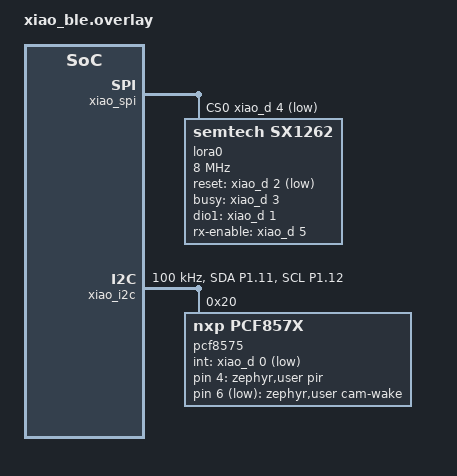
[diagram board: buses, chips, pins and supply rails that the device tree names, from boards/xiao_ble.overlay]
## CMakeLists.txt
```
# SPDX-License-Identifier: Apache-2.0

cmake_minimum_required(VERSION 3.20.0)

# Console (printf/logs) is already over USB CDC ACM: the xiao_ble board enables
# CONFIG_BOARD_SERIAL_BACKEND_CDC_ACM by default. Don't add the cdc-acm-console
# snippet on top: it creates a second, unexposed CDC ACM port and steals
# zephyr,console from the one the host actually sees.

find_package(Zephyr REQUIRED HINTS $ENV{ZEPHYR_BASE})
project(master_node)

target_sources(app PRIVATE
    src/main.c
    src/camera_node.c
    src/camera_link.c
    src/image_store.c
    src/cam_wake.c
    src/noon_clock.c
)
```

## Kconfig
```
# SPDX-License-Identifier: Apache-2.0
#
# Application options. Change them with `west build -t menuconfig`, or put
# CONFIG_APP_xxx=value lines into prj.conf / boards/<board>.conf.

mainmenu "master-node"

menu "master-node application"

config APP_CAMERA_NAME
	string "Advertised name of the camera node"
	default "DFR1154-CAM"
	help
	  The scanner connects to the first connectable advertiser whose name starts with
	  this text. Must match "BLE device name" (NODE_BLE_DEVICE_NAME) in the camera
	  firmware's menuconfig.

config APP_IMAGE_BUF_SIZE
	int "RAM reserved for one received picture (bytes)"
	default 131072
	range 4096 400000
	help
	  The camera's JPEG buffer is width*height/5 bytes (SVGA 800x600 = 96000).
	  A picture bigger than this is refused. The buffer lives in .bss, so it is
	  taken from RAM permanently (nRF5340 app core: 512 KB, nRF52840: 256 KB).

config APP_SESSION_TIMEOUT_S
	int "After a trigger: seconds to wait for the camera to show up"
	default 20
	range 3 120
	help
	  The camera needs 1-3 s to wake and take the picture, then it advertises for
	  up to NODE_BLE_CONNECT_TIMEOUT_MS (10 s by default). Keep this above both.

config APP_TRANSFER_TIMEOUT_S
	int "Seconds allowed for connect + pairing + transfer once the camera was found"
	default 30
	range 5 300

config APP_IMAGE_WAKE_PULSE_MS
	int "Wake pulse for a PICTURE request (ms)"
	default 50
	range 5 2000
	help
	  The camera wakes on the LEVEL of its wake pin. A pulse SHORTER than the camera's
	  NODE_BATTERY_REQUEST_MS (200 ms) asks for a picture.

config APP_BATTERY_WAKE_PULSE_MS
	int "Wake pulse for a BATTERY request (ms)"
	default 300
	range 5 5000
	help
	  A pulse LONGER than the camera's NODE_BATTERY_REQUEST_MS (200 ms) asks for the
	  battery level instead of a picture.

config APP_PROGRESS_LOG_BYTES
	int "Log the received byte count every this many bytes"
	default 8192
	range 512 100000

config APP_RTC_BOOT_HOUR
    int "Local hour at boot (-1: unknown, do not arm noon alarm)"
    range -1 23
    default -1
    help
      The nRF52840 has a low-frequency RTC counter, NOT a battery-backed
      calendar clock. Set the hour/minute/second only if the current local
      time at firmware START is known. For an accurate noon alarm, call
      noon_clock_set_local_time() from a trusted time source after boot.

config APP_RTC_BOOT_MINUTE
    int "Local minute at boot (testing/initial synchronization)"
    range 0 59
    default 0

config APP_RTC_BOOT_SECOND
    int "Local second at boot (testing/initial synchronization)"
    range 0 59
    default 0

config APP_AUTO_REPAIR
	bool "Forget the stored bond and pair again when the camera lost its key"
	default y
	help
	  If the camera was factory-reset it no longer knows this device and refuses to
	  encrypt. With this option the stored bond is deleted and one new pairing
	  attempt is made. NOTE: with "Just Works" pairing this accepts whichever device
	  answers, so switch it off in a product that must not re-pair silently.

endmenu

source "Kconfig.zephyr"
```

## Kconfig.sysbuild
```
# SPDX-License-Identifier: Apache-2.0
#
# nRF5340 has two cores: this application runs on the application core, the
# Bluetooth controller must run on the network core. Sysbuild builds both images
# (the network core one is Zephyr's hci_ipc sample) and flashes them together.
# Single-core boards (xiao_ble) are not affected: NET_CORE_BOARD stays empty.

source "share/sysbuild/Kconfig"

config NET_CORE_BOARD
	string
	default "nrf5340dk/nrf5340/cpunet" if $(BOARD) = "nrf5340dk"

config NET_CORE_IMAGE_HCI_IPC
	bool "HCI IPC image on the network core"
	default y
	depends on NET_CORE_BOARD != ""
```

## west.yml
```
# West workspace manifest: pins the Zephyr version for everyone (devcontainer + CI).
# Only the modules this board needs are fetched, to keep the download small.
manifest:
  self:
    path: master-node

  remotes:
    - name: zephyrproject-rtos
      url-base: https://github.com/zephyrproject-rtos

  projects:
    - name: zephyr
      remote: zephyrproject-rtos
      revision: v4.5.0
      import:
        name-allowlist:
          - cmsis_6
          - hal_nordic
          - loramac-node
          - mbedtls        # crypto backend used by the Bluetooth host in recent Zephyr
          - open-amp       # nRF5340: IPC between the application and network core
          - libmetal       # needed by open-amp
          - tf-psa-crypto          # mbedtls 4.x keeps its crypto core in this module
          - tf-psa-crypto-drivers
```

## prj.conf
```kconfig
# ---- Logging ---------------------------------------------------------------
# One switch for all logs: CONFIG_LOG=n removes every LOG_xxx() call from the build
# (and the logging subsystem itself). Keep it on while developing.
CONFIG_LOG=y
CONFIG_LOG_DEFAULT_LEVEL=3

# ---- Bluetooth: central, one connection, bonding stored in flash -----------
CONFIG_BT=y
CONFIG_BT_CENTRAL=y
CONFIG_BT_MAX_CONN=1
CONFIG_BT_GATT_CLIENT=y
CONFIG_BT_GATT_AUTO_DISCOVER_CCC=y

# Pairing (LE Secure Connections, "Just Works") + bonds that survive power loss
CONFIG_BT_SMP=y
CONFIG_BT_BONDABLE=y
CONFIG_BT_MAX_PAIRED=2
CONFIG_BT_SETTINGS=y
CONFIG_SETTINGS=y
CONFIG_FLASH=y
CONFIG_FLASH_PAGE_LAYOUT=y
CONFIG_FLASH_MAP=y
CONFIG_NVS=y

# Big ATT MTU + long data packets: the camera sends (MTU - 6)-byte chunks, so a
# bigger MTU means far fewer packets for a 60 KB picture
CONFIG_BT_L2CAP_TX_MTU=247
CONFIG_BT_BUF_ACL_RX_SIZE=251
CONFIG_BT_BUF_ACL_TX_SIZE=251
CONFIG_BT_BUF_ACL_TX_COUNT=7

# CRC32 of the received picture
CONFIG_CRC=y

CONFIG_MAIN_STACK_SIZE=4096
CONFIG_SYSTEM_WORKQUEUE_STACK_SIZE=2048

# LoRa radio (Wio-SX1262, see boards/xiao_ble.overlay)
CONFIG_LORA=y

# Debug logging over the USB console (board CDC ACM)
#CONFIG_LOG=y
#CONFIG_LOG_DEFAULT_LEVEL=3
# Hide the USB driver's INF chatter (Reset / SUSPEND / RESUMING); keep warnings
CONFIG_UDC_DRIVER_LOG_LEVEL_WRN=y

#wincej
CONFIG_LOG_BACKEND_UART=y
CONFIG_CONSOLE=y
CONFIG_UART_CONSOLE=y

CONFIG_GPIO=y
CONFIG_I2C=y
CONFIG_GPIO_PCF857X=y
```

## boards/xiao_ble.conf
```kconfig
# XIAO nRF52840 + Wio-SX1262 only (the nRF5340 DK has no such parts)

# LoRa radio (Wio-SX1262, see boards/xiao_ble.overlay)
CONFIG_LORA=y

# Hide the USB driver's INF chatter (Reset / SUSPEND / RESUMING); keep warnings
CONFIG_UDC_DRIVER_LOG_LEVEL_WRN=y

# Picture wake pulse from PCF8575 P06: short LOW for 30 ms.
# Battery request keeps APP_BATTERY_WAKE_PULSE_MS=300 (unchanged).
CONFIG_APP_IMAGE_WAKE_PULSE_MS=30
```

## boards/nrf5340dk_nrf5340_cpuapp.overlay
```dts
/*
 * nRF5340 DK alternate board configuration.
 * Button 1 (P0.23) can simulate the PIR input for development.
 * The test-only battery button/trigger has been removed.
 * Camera wake output remains on P1.04 (active LOW).
 */

/ {
    zephyr,user {
        pir-gpios = <&gpio0 23 (GPIO_PULL_UP | GPIO_ACTIVE_LOW)>;
        cam-wake-gpios = <&gpio1 4 GPIO_ACTIVE_LOW>;
    };
};
```

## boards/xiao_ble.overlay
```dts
/*
 * Wio-SX1262 LoRa module on the XIAO nRF52840.
 *
 * Module stacked on the XIAO pin headers, as shipped in Seeed's
 * "XIAO nRF52840 + Wio-SX1262" kit (same pinout as Meshtastic variant
 * seeed_xiao_nrf52840_kit). The Wio-SX1262 from the XIAO ESP32-S3 kit is wired
 * differently, so don't swap modules between kits without changing these pins.
 */

#include <zephyr/dt-bindings/lora/sx126x.h>

#include <zephyr/dt-bindings/gpio/gpio.h>
#include <zephyr/dt-bindings/pinctrl/nrf-pinctrl.h>
#include <zephyr/dt-bindings/i2c/i2c.h>

/ {
	aliases {
		lora0 = &lora0;
	};
};

&xiao_spi {
	status = "okay";
	cs-gpios = <&xiao_d 4 GPIO_ACTIVE_LOW>;		/* D4: NSS */

	lora0: lora@0 {
		compatible = "semtech,sx1262";
		reg = <0>;
		spi-max-frequency = <DT_FREQ_M(8)>;
		reset-gpios = <&xiao_d 2 GPIO_ACTIVE_LOW>;	/* D2 */
		busy-gpios = <&xiao_d 3 GPIO_ACTIVE_HIGH>;	/* D3 */
		dio1-gpios = <&xiao_d 1 GPIO_ACTIVE_HIGH>;	/* D1 */
		rx-enable-gpios = <&xiao_d 5 GPIO_ACTIVE_HIGH>;	/* D5: RF switch RX side */
		dio2-tx-enable;					/* DIO2 drives RF switch TX side */
		dio3-tcxo-voltage = <SX126X_DIO3_TCXO_1V8>;
		tcxo-power-startup-delay-ms = <5>;
	};
};

/*
 * D6=P1.11 (SDA), D7=P1.12 (SCL) - dedicated to PCF8575 I2C.
 * D0=P0.02 - PCF8575 /INT (active LOW, open drain, external 4.7k pull-up).
 * PIR output -> PCF8575 P04, HIGH means motion.
 * PCF8575 P06 - camera-node wake (active LOW, 30 ms picture / 80 ms noon).
 *
 * IMPORTANT: PCF8575 /INT is not a copied PIR HIGH level; it asserts LOW
 * when an input changes. Zephyr's PCF857x driver configures D0 as an IRQ,
 * reads PCF inputs over I2C and dispatches callbacks on changed pins.
 */

&pinctrl {
    i2c1_custom_default: i2c1_custom_default {
        group1 {
            psels = <NRF_PSEL(TWIM_SDA, 1, 11)>,
                    <NRF_PSEL(TWIM_SCL, 1, 12)>;
            bias-pull-up;
        };
    };

    i2c1_custom_sleep: i2c1_custom_sleep {
        group1 {
            psels = <NRF_PSEL(TWIM_SDA, 1, 11)>,
                    <NRF_PSEL(TWIM_SCL, 1, 12)>;
            low-power-enable;
            bias-pull-up;
        };
    };
};

/* D6 and D7 are TWIM pins now, not UART0. USB CDC ACM stays enabled. */
&uart0 {
    status = "disabled";
};

/* Konfiguracja magistrali I2C */
&xiao_i2c {
    status = "okay";
    clock-frequency = <100000>;

    pinctrl-0 = <&i2c1_custom_default>;
    pinctrl-1 = <&i2c1_custom_sleep>;
    pinctrl-names = "default", "sleep";

    pcf8575: pcf8575@20 {
        compatible = "nxp,pcf857x";
        reg = <0x20>;
        gpio-controller;
        #gpio-cells = <2>;
        ngpios = <16>;
        /* PCF8575 INT -> XIAO D0. IRQ serviced by the expander driver. */
        int-gpios = <&xiao_d 0 (GPIO_PULL_UP | GPIO_ACTIVE_LOW)>;
        status = "okay";
    };
};

/ {
	zephyr,user {
		pir-gpios = <&pcf8575 4 GPIO_ACTIVE_HIGH>;
		cam-wake-gpios = <&pcf8575 6 GPIO_ACTIVE_LOW>;
	};
};
```

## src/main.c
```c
/*
 * SPDX-License-Identifier: Apache-2.0
 *
 * PIR is connected to PCF8575 P04, and the expander /INT line wakes the nRF.
 * Camera image reception remains in camera_node.c. The 12:00 event uses
 * a Zephyr timer after the local clock has been synchronized.
 */

#include <errno.h>
#include <zephyr/drivers/gpio.h>
#include <zephyr/kernel.h>
#include <zephyr/logging/log.h>

#include "camera_node.h"
#include "cam_wake.h"
#include "noon_clock.h"

LOG_MODULE_REGISTER(master_node, LOG_LEVEL_DBG);

/* Existing on-board LED (active-low physically on the XIAO). */
static const struct gpio_dt_spec status_led = GPIO_DT_SPEC_GET(DT_ALIAS(led0), gpios);

/* A short LED indication without delaying the camera request. */
static void status_led_off(struct k_work *work)
{
    ARG_UNUSED(work);
    (void)gpio_pin_set_dt(&status_led, 0);
}

K_WORK_DELAYABLE_DEFINE(status_led_off_work, status_led_off);

BUILD_ASSERT(DT_NODE_HAS_PROP(DT_PATH(zephyr_user), pir_gpios),
             "the board overlay must define zephyr,user pir-gpios");

/* Real PIR input on PCF8575 P04; /INT is wired to XIAO D0. */
static const struct gpio_dt_spec pir = GPIO_DT_SPEC_GET(DT_PATH(zephyr_user), pir_gpios);
static struct gpio_callback pir_cb_data;
static K_SEM_DEFINE(event_sem, 0, 1);

#define REQ_IMAGE 0
#define REQ_NOON  1
static atomic_t requests;

#define PIR_DEBOUNCE_MS 300

/* PIR input change callback: debounced; wakes the main thread. */
static void trigger_isr(const struct device *port, struct gpio_callback *cb, uint32_t pins)
{
	static int64_t last_ms;
	int64_t now = k_uptime_get();

	if (now - last_ms < PIR_DEBOUNCE_MS) {
		return;
	}
	last_ms = now;
	atomic_set_bit(&requests, REQ_IMAGE);
	k_sem_give(&event_sem);
}

static int input_init(const struct gpio_dt_spec *spec, struct gpio_callback *cb,
		      gpio_callback_handler_t isr)
{
	if (!gpio_is_ready_dt(spec)) {
        LOG_ERR("input GPIO controller not ready");
        return -ENODEV;
    }

    // PCF8575: nie konfigurujemy GPIO_INPUT
    // ze wzgledu na blad sterownika w Zephyr 4.4.2.

    gpio_init_callback(cb, isr, BIT(spec->pin));

    int err = gpio_add_callback(spec->port, cb);
    if (err) {
        return err;
    }

    return gpio_pin_interrupt_configure_dt(
        spec, GPIO_INT_EDGE_TO_ACTIVE
    );
}

int main(void)
{
    LOG_INF("master-node up on %s", CONFIG_BOARD_TARGET);
	int counter_test = 0;

    /* PCF8575 is initialized by Zephyr. Its /INT line is on XIAO D0. */
    if (!gpio_is_ready_dt(&status_led) ||
        gpio_pin_configure_dt(&status_led, GPIO_OUTPUT_INACTIVE) != 0) {
        LOG_ERR("status LED not ready");
        return -ENODEV;
    }

    /* No changes to BLE initialization or camera_node_* functions. */
    if (camera_node_init() || input_init(&pir, &pir_cb_data, trigger_isr)) {
        LOG_ERR("setup failed - check the board overlay / PCF INT on D0");
        return -ENODEV;
    }

    /* Clear any pending PCF8575 change and establish an initial PIR state. */
    int initial_pir = gpio_pin_get_dt(&pir);
    if (initial_pir < 0) {
        LOG_ERR("PIR initial read over I2C failed: %d", initial_pir);
        return initial_pir;
    }

    if (noon_clock_init(&event_sem, &requests, REQ_NOON) != 0) {
        LOG_ERR("RTC timer initialization failed");
        return -EINVAL;
    }

#if CONFIG_APP_RTC_BOOT_HOUR >= 0
    /* Demonstration only: requires an actually known local time at power-on. */
    (void)noon_clock_set_local_time(CONFIG_APP_RTC_BOOT_HOUR,
                                    CONFIG_APP_RTC_BOOT_MINUTE,
                                    CONFIG_APP_RTC_BOOT_SECOND);
#else
    LOG_WRN("No wall clock: noon alarm unarmed; sync with noon_clock_set_local_time()");
#endif

    while(true) { //nie zgadzam się na żadne for(;;)
        LOG_INF("sleeping until PIR / RTC event");
        k_sem_take(&event_sem, K_FOREVER);

        /* Timeout callback does not access I2C. Handle the alarm here. */
        if (atomic_test_and_clear_bit(&requests, REQ_NOON)) {
            LOG_INF("RTC noon alarm: camera wake pulse 80 ms");
            cam_wake_pulse(80);
        }

        if (atomic_test_and_clear_bit(&requests, REQ_IMAGE)) {
            /* Zephyr 4.4 PCF857x callbacks signal BOTH edges regardless
             * of requested trigger. Only PIR HIGH may request an image. */
            int pir_state = gpio_pin_get_dt(&pir);
            if (pir_state < 0) {
                LOG_ERR("PIR read failed: %d", pir_state);
            } else if (pir_state == 1) {
                /* Preserve the LED indication on a valid interrupt. */
                (void)gpio_pin_set_dt(&status_led, 1);
                (void)k_work_reschedule(&status_led_off_work, K_SECONDS(2));

                /* take_image(): unchanged BLE, 30 ms low on PCF8575 P06
                 * (CONFIG_APP_IMAGE_WAKE_PULSE_MS=30 on XIAO only). */
                /*if (take_image()) {
                    const struct stored_image *img = get_image();
                    if (img != NULL) {
                        // >>> picture is in RAM: img->data, img->len, img->status. <<< 
                        LOG_INF("image ready: %u bytes, %s", img->len,
                                image_status_str(img->status));
                    }
                }*/
				if (counter_test == 0) {
					if(take_image()){
						const struct stored_image *img = get_image();
						if (img != NULL) {
							// >>> picture is in RAM: img->data, img->len, img->status. <<< 
							LOG_DBG("image ready: %u bytes, %s", img->len,
									image_status_str(img->status));
						}
					}
					counter_test = 1;
				} else {
					struct battery_info bat;

					if (read_battery(&bat)) {
						LOG_DBG("camera node battery: %u %% (%u mV)", bat.percent, bat.battery_mv);
					}
					counter_test = 0;
				}
            } else {
                LOG_DBG("PCF interrupt ignored: PIR is LOW");
            }
		   LOG_DBG("PIR detected.");
        }

    }
    return 0;
}
```

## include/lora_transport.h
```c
/* SPDX-License-Identifier: Apache-2.0 */
#ifndef BS_LORA_TRANSPORT_H
#define BS_LORA_TRANSPORT_H

#include "tx_session.h"

/** Initialize the lora0 SX1262 using Kconfig modulation and the existing board overlay.
 * @return Zero on success; negative errno for absent hardware, unsupported settings or readback failure.
 * Call once from thread context before sending. This component owns the radio exclusively.
 */
int bs_lora_init(void);

/** Deliver an arbitrary binary body using bounded DATA/END/ACK/NACK exchange.
 * @param kind ENTRY, IMAGE or TELEMETRY.
 * @param device_id Provisioned sender identity, unique among nodes.
 * @param message_id Unique application ID, retained across all internal retransmissions.
 * @param data Immutable body kept alive until this blocking call returns.
 * @param size Nonzero body length, up to BS_MESSAGE_MAX.
 * @param result Output delivery statistics; delivery succeeds only after a matching ACK.
 * @return Zero after durable router receipt; negative errno on timeout/error, -EBUSY if another
 *         application thread is already using this radio. Call from thread context, never an ISR.
 */
int bs_lora_send_message(uint8_t kind, uint16_t device_id, uint32_t message_id,
			 const uint8_t *data, size_t size, struct bs_tx_result *result);
#endif
```

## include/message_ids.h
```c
/* SPDX-License-Identifier: Apache-2.0 */
#ifndef BS_MESSAGE_IDS_H
#define BS_MESSAGE_IDS_H
#include <stdint.h>

/** Mount the board's existing storage partition for persistent ID reservations.
 * @return Zero on success, negative errno on corrupt/unavailable storage. Never silently resets IDs.
 */
int bs_message_ids_init(void);

/** Reserve a never-before-issued message ID, committing blocks before exposing IDs.
 * @param message_id Output ID. Serialize callers; the demo calls this only from main.
 * @return Zero on success, negative errno on flash failure or sequence exhaustion.
 * A reset skips unused reserved IDs. Erasing/replacing flash requires reprovisioning the device ID.
 */
int bs_message_id_next(uint32_t *message_id);
#endif
```

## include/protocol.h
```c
/* SPDX-License-Identifier: Apache-2.0 */
#ifndef BS_PROTOCOL_H
#define BS_PROTOCOL_H

#include <stddef.h>
#include <stdint.h>

#define BS_PROTOCOL_VERSION 1U
#define BS_HEADER_SIZE 22U
#define BS_RADIO_MAX 255U
#define BS_PART_MAX (BS_RADIO_MAX - BS_HEADER_SIZE)
#define BS_PART_DEFAULT 200U
#define BS_NACK_MAX 32U
#define BS_CONTROL_MAX (BS_HEADER_SIZE + 1U + 2U * BS_NACK_MAX)
/* Match the actual Python MessageStore limits, not just the wire field widths. */
#define BS_MESSAGE_MAX 1000000U
#define BS_FRAGMENT_MAX 10000U

/**
 * @brief Packet kinds carried in the version 1 wire header.
 *
 * ENTRY, IMAGE and TELEMETRY carry DATA fragments. ACK, NACK and END
 * reference a whole message and carry its original DATA kind in their body.
 * These numeric values are part of the wire contract and must remain stable.
 */
enum bs_kind {
	BS_ENTRY = 1,     /**< DATA containing part of a UTF-8 entry-event JSON object. */
	BS_IMAGE = 2,     /**< DATA containing part of a raw JPEG image. */
	BS_TELEMETRY = 3, /**< DATA containing part of a UTF-8 telemetry JSON object. */
	BS_ACK = 4,       /**< Router confirms durable receipt of the complete message. */
	BS_NACK = 5,      /**< Router requests up to BS_NACK_MAX missing DATA indices. */
	BS_END = 6,       /**< Sender ends a DATA round and requests whole-message feedback. */
};

/**
 * @brief Stable message identity, checksum and fragmentation plan for a send session.
 *
 * Initialize with bs_message_init() and retain unchanged across retransmissions.
 * This native C layout can contain padding; serialize through the protocol encoders,
 * never by copying the struct directly into a radio packet.
 */
struct bs_message {
	uint32_t message_id; /**< Application message ID; all retries reuse this value. */
	uint32_t total_size; /**< Complete nonempty application body length in bytes. */
	uint32_t crc32;      /**< CRC32/ISO-HDLC of the complete body, matching zlib.crc32(). */
	uint16_t device_id;  /**< Provisioned identity of the sending node. */
	uint16_t count;      /**< Total distinct DATA fragments expected by the receiver. */
	uint16_t part_size;  /**< Local DATA payload limit, 1..BS_PART_MAX; not a wire field. */
	uint8_t kind;        /**< Original DATA category: BS_ENTRY, BS_IMAGE or BS_TELEMETRY. */
};

/**
 * @brief Validated whole-message ACK or bounded missing-fragment NACK.
 *
 * Output is valid only after bs_decode_feedback() returns zero. The decoder has
 * already checked that all message metadata matches the pending bs_message.
 */
struct bs_feedback {
	uint16_t missing[BS_NACK_MAX]; /**< Ascending, unique, zero-based missing DATA indices. */
	uint8_t missing_count;        /**< Valid array entries: zero for ACK, 1..BS_NACK_MAX for NACK. */
	uint8_t kind;                 /**< Feedback operation: BS_ACK or BS_NACK. */
};

/** CRC32/ISO-HDLC (reflected polynomial 0xedb88320), identical to zlib.crc32().
 * @param data Input bytes; may be NULL only when size is zero.
 * @param size Number of input bytes.
 * @return Complete body checksum; empty input yields zero.
 */
uint32_t bs_crc32(const uint8_t *data, size_t size);

/** Validate a nonempty application body and compute stable fragmentation metadata.
 * @param message Output metadata, valid only on success.
 * @param kind ENTRY, IMAGE or TELEMETRY.
 * @param device_id Provisioned sender identity.
 * @param message_id Unique ID reserved before sending, reused for all retries.
 * @param data Body that must remain unchanged for the complete session.
 * @param size Body length, at most BS_MESSAGE_MAX bytes.
 * @param part_size DATA payload length, 1..BS_PART_MAX (normally 200).
 * @return Zero on success, -EINVAL for invalid arguments, -EMSGSIZE for receiver limits.
 */
int bs_message_init(struct bs_message *message, uint8_t kind, uint16_t device_id,
		    uint32_t message_id, const uint8_t *data, size_t size, uint16_t part_size);

/** Encode one DATA frame, using explicit big-endian byte operations.
 * @param message Metadata initialized by bs_message_init().
 * @param data Unchanged full application body.
 * @param size Body length matching the metadata.
 * @param index Zero-based DATA fragment index.
 * @param frame Output packet buffer.
 * @param capacity Available output buffer bytes.
 * @return Encoded frame length or a negative errno value.
 */
int bs_encode_data(const struct bs_message *message, const uint8_t *data, size_t size,
		   uint16_t index, uint8_t *frame, size_t capacity);

/** Encode an END referencing the full message.
 * @param message Validated pending-message metadata.
 * @param frame Output packet buffer.
 * @param capacity Available output bytes (at least 23).
 * @return Encoded length or a negative errno value.
 */
int bs_encode_end(const struct bs_message *message, uint8_t *frame, size_t capacity);

/** Decode ACK/NACK and require every identity/size/checksum field to match.
 * @param message Pending-message metadata.
 * @param frame Received binary radio payload.
 * @param size Received byte count.
 * @param feedback Output ACK or sorted, bounded NACK indices, valid only on success.
 * @return Zero on success; -ENOMSG for another message, -EBADMSG for malformed frames,
 *         or -EINVAL for invalid caller arguments.
 */
int bs_decode_feedback(const struct bs_message *message, const uint8_t *frame, size_t size,
		       struct bs_feedback *feedback);
#endif
```

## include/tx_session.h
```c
/* SPDX-License-Identifier: Apache-2.0 */
#ifndef BS_TX_SESSION_H
#define BS_TX_SESSION_H

#include "protocol.h"
#include <stdint.h>

/**
 * @brief Sender progress notifications delivered through bs_tx_io.event().
 *
 * Each event defines the meaning of the callback's integer detail argument.
 * These are local diagnostics, not packet kinds or values serialized over LoRa.
 */
enum bs_tx_event {
	BS_TX_END,     /**< Starting an END/feedback round; detail is its one-based number. */
	BS_TX_ACK,     /**< Matching ACK received; detail is the one-based round number. */
	BS_TX_NACK,    /**< Matching NACK received; detail is the number of missing indices. */
	BS_TX_MISSING, /**< Retransmitting DATA; detail is its zero-based fragment index. */
	BS_TX_TIMEOUT, /**< No matching feedback before the deadline; detail is the round number. */
	BS_TX_IO_ERROR, /**< Packet send failed; detail is the transport's negative errno. */
	BS_TX_IGNORED, /**< Malformed/unrelated feedback ignored; detail is received byte count. */
};

/**
 * @brief Blocking, single-owner transport callbacks used by the portable sender.
 *
 * The application or host test supplies these operations. Every callback receives
 * context; send(), recv() and now_ms() are required, while event() is optional.
 * Buffers are borrowed for the duration of each call and must not be retained.
 */
struct bs_tx_io {
	void *context; /**< Caller-owned callback state; NULL is allowed for stateless adapters. */

	/**
	 * @brief Schedule and attempt one binary packet transmission.
	 * @param context Caller state from this callback table.
	 * @param frame Immutable packet bytes, including the protocol header.
	 * @param size Packet length in bytes, at most BS_RADIO_MAX.
	 * @return Zero on TX completion, negative errno on failure; not a delivery ACK.
	 * Include duty-cycle waiting and charge failed TX attempts before allowing another TX.
	 */
	int (*send)(void *context, const uint8_t *frame, size_t size);

	/**
	 * @brief Wait for one received packet within the remaining feedback window.
	 * @param context Caller state from this callback table.
	 * @param frame Output buffer for the complete received packet.
	 * @param capacity Available buffer length in bytes.
	 * @param timeout_ms Maximum wait in milliseconds; malformed traffic must not reset it.
	 * @return Received length, -ETIMEDOUT/-EAGAIN on timeout, or another negative errno.
	 */
	int (*recv)(void *context, uint8_t *frame, size_t capacity, uint32_t timeout_ms);

	/**
	 * @brief Read the monotonic clock used to bound a feedback round.
	 * @param context Caller state from this callback table.
	 * @return Nondecreasing elapsed time in milliseconds, unaffected by wall-clock changes.
	 */
	uint64_t (*now_ms)(void *context);

	/**
	 * @brief Optionally report session progress without taking ownership of the radio.
	 * @param context Caller state from this callback table.
	 * @param event Progress notification defining how to interpret detail.
	 * @param detail Round, fragment index, count or error as documented by bs_tx_event.
	 * @return Nothing. Keep handling short and do not reenter radio operations.
	 */
	void (*event)(void *context, enum bs_tx_event event, int detail);
};

/**
 * @brief Fragmentation, receive timing and finite retry limits for one message.
 *
 * Set every field before bs_tx_send(). The receive window must cover the router's
 * quiet period and duty-limited feedback; a packet TX retry is distinct from an
 * END/feedback round and does not create a new application message.
 */
struct bs_tx_options {
	uint32_t feedback_timeout_ms; /**< Nonzero RX window after each sent END, in milliseconds. */
	uint16_t part_size;           /**< DATA payload limit, 1..BS_PART_MAX; normally 200 bytes. */
	uint16_t max_end_attempts;    /**< Maximum END/feedback rounds, including the first; at least one. */
	uint8_t max_packet_attempts;  /**< Send calls per DATA/END packet, including the first; at least one. */
};

/**
 * @brief Delivery-attempt counters produced by a sender session.
 *
 * Attempts include failed TX calls and retransmissions. These statistics do not
 * prove delivery: only a zero return from bs_tx_send() confirms a matching ACK.
 */
struct bs_tx_result {
	uint32_t data_attempts;    /**< Total DATA send calls across initial sends and retries. */
	uint32_t end_attempts;     /**< Total END send calls, including retries within a round. */
	uint32_t ignored_feedback; /**< Received frames rejected as malformed or unrelated. */
	uint16_t fragment_count;   /**< Distinct DATA fragments in the original message, excluding retries. */
};

/** Compute conservative start-to-start spacing, rounded up in milliseconds.
 * @param airtime_ms Planned TX duration including timing margin.
 * @param duty_permille Allowed fraction in 1..1000; 10 means 1%, and 0 disables duty spacing.
 * @return Minimum spacing; disabled duty returns airtime_ms (no off-time).
 *         Returns zero for duty above 1000 or zero airtime.
 * The transport charges spacing minus airtime AFTER completion, even on TX failure.
 */
uint64_t bs_tx_spacing_ms(uint32_t airtime_ms, uint16_t duty_permille);

/** Send one whole message, retaining its IDs and checksum across every retransmission.
 * @param io Single-owner blocking radio adapter, or a host fake implementing the contract.
 * @param options Bounded retry counts, fragmentation and a duty-aware feedback deadline.
 * @param kind ENTRY, IMAGE or TELEMETRY.
 * @param device_id Provisioned node identity.
 * @param message_id Persistently reserved ID; not changed by this function.
 * @param data Unchanged body, kept alive until this blocking call returns.
 * @param size Nonzero application byte count.
 * @param result Output counters, including unsuccessful TX attempts.
 * @return Zero ONLY after a matching ACK; -ETIMEDOUT on exhausted END rounds,
 *         transport errno on unrecovered I/O failure, or protocol argument errors.
 * This API owns no queue or thread. A future queue can invoke it from its own worker.
 */
int bs_tx_send(const struct bs_tx_io *io, const struct bs_tx_options *options,
	       uint8_t kind, uint16_t device_id, uint32_t message_id,
	       const uint8_t *data, size_t size, struct bs_tx_result *result);
#endif
```

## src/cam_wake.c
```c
/* SPDX-License-Identifier: Apache-2.0 */

#include "cam_wake.h"

#include <errno.h>
#include <zephyr/device.h>
#include <zephyr/drivers/gpio.h>
#include <zephyr/kernel.h>
#include <zephyr/logging/log.h>

LOG_MODULE_REGISTER(cam_wake, LOG_LEVEL_DBG);

BUILD_ASSERT(DT_NODE_HAS_PROP(DT_PATH(zephyr_user), cam_wake_gpios),
	     "the board overlay must define zephyr,user cam-wake-gpios");

static const struct gpio_dt_spec wake = GPIO_DT_SPEC_GET(DT_PATH(zephyr_user), cam_wake_gpios);

int cam_wake_init(void)
{
	if (!gpio_is_ready_dt(&wake)) {
		LOG_ERR("wake GPIO controller not ready");
		return -ENODEV;
	}
	int err = gpio_pin_configure_dt(&wake, GPIO_OUTPUT_INACTIVE);

	if (err) {
		LOG_ERR("wake GPIO configure failed: %d", err);
		return err;
	}
	LOG_INF("camera wake line ready (%s pin %u, active %s)", wake.port->name, wake.pin,
		(wake.dt_flags & GPIO_ACTIVE_LOW) ? "LOW" : "HIGH");
	return 0;
}

void cam_wake_pulse(unsigned int ms)
{
	LOG_INF("waking the camera node (%u ms pulse)", ms);
	gpio_pin_set_dt(&wake, 1);
	k_msleep(ms);
	gpio_pin_set_dt(&wake, 0);
}
```

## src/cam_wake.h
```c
/*
 * SPDX-License-Identifier: Apache-2.0
 *
 * The line that wakes the camera node.
 *
 * Pin and polarity come from the devicetree overlay of the board:
 *   /zephyr,user { cam-wake-gpios = <&gpioX N GPIO_ACTIVE_LOW>; };
 * "Active" = the camera node must wake up. Idle = the pin is driven to the inactive
 * level (HIGH for an active-LOW line), push-pull.
 */
#pragma once

/* Configure the pin as an output in its inactive (idle) state. Returns 0 or -errno. */
int cam_wake_init(void);

/* Drive the line active for `ms`, then idle again. Blocks.
 * The camera node tells the request by the length: short = picture, long = battery. */
void cam_wake_pulse(unsigned int ms);
```

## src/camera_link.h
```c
/*
 * SPDX-License-Identifier: Apache-2.0
 *
 * Bluetooth LE link to the camera node (we are the central / GATT client).
 *
 * One call, camlink_receive_image(), runs a complete session:
 *   scan -> connect -> pair/encrypt -> discover service -> subscribe ->
 *   receive ONE message (a picture into image_store, or a battery report) -> ACK -> disconnect.
 * Which one arrives depends on the wake pulse sent to the camera; camlink_last_kind() says.
 * The protocol is the one of the camera firmware (see README "Protocol").
 */
#pragma once

#include <stdbool.h>
#include <stdint.h>

typedef enum {
	CAMLINK_OK,          /* picture received, CRC ok, stored in image_store, ACK sent */
	CAMLINK_NO_CAMERA,   /* nothing advertising before the timeout */
	CAMLINK_TIMEOUT,     /* found the camera but did not finish in time */
	CAMLINK_FAILED,      /* link lost / security or discovery failed / bad data */
	CAMLINK_BOND_LOST,   /* camera does not know us any more; bond deleted (see APP_AUTO_REPAIR) */
	CAMLINK_TOO_BIG,     /* picture larger than CONFIG_APP_IMAGE_BUF_SIZE */
	CAMLINK_NO_BOND,     /* normal mode requested but no camera is paired */
	CAMLINK_BUSY,        /* a session is already running */
} camlink_result_t;

/* Prepare the module (semaphores, work items). Call once at start-up. Bluetooth is
 * NOT started here, so the radio stays off until camlink_radio_on(). */
void camlink_init(void);

/* Switch Bluetooth on (bt_enable + load the bonds from flash). 0 or -errno. */
int camlink_radio_on(void);

/* Switch Bluetooth off again (bt_disable). Bonds stay in flash. */
void camlink_radio_off(void);

/* The following three need the radio to be on (bonds are loaded then). */

/* Number of paired cameras stored in flash. */
int camlink_bond_count(void);

/* Delete all stored bonds (this side only: the camera keeps its own copy). */
void camlink_forget_all(void);

/*
 * Run one session. Blocks until it is over.
 *
 * pairing   true  = accept ANY device advertising CONFIG_APP_CAMERA_NAME and pair
 *                   with it (first use);
 *           false = only talk to the already paired camera (address must match
 *                   the stored bond) - returns CAMLINK_NO_BOND if there is none.
 * find_timeout_ms  how long to wait for the camera to appear. Once it is found,
 *                   CONFIG_APP_TRANSFER_TIMEOUT_S applies to the rest.
 *
 * Progress and the number of saved bytes are logged. On CAMLINK_OK the picture
 * can be read with image_store_get().
 */
camlink_result_t camlink_receive_image(bool pairing, uint32_t find_timeout_ms);

/* What the last successful session delivered. */
enum camlink_kind {
	CAMLINK_KIND_NONE,
	CAMLINK_KIND_IMAGE,     /* picture, in image_store */
	CAMLINK_KIND_BATTERY,   /* battery report, see camlink_last_battery() */
};

struct camlink_battery {
	uint8_t percent;        /* 0..100 */
	uint16_t battery_mv;    /* battery voltage the camera calculated */
	uint16_t adc_mv;        /* voltage at the camera's ADC pin */
};

/* Kind of the data delivered by the last camlink_receive_image() (valid on CAMLINK_OK). */
enum camlink_kind camlink_last_kind(void);

/* The last battery report (valid when camlink_last_kind() == CAMLINK_KIND_BATTERY). */
struct camlink_battery camlink_last_battery(void);

/* Readable name of a result, for logs. */
const char *camlink_result_str(camlink_result_t r);
```

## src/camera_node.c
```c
/* SPDX-License-Identifier: Apache-2.0 */

#include "camera_node.h"

#include <zephyr/kernel.h>
#include <zephyr/logging/log.h>

#include "cam_wake.h"
#include "camera_link.h"

LOG_MODULE_REGISTER(camera_node, LOG_LEVEL_DBG);

static struct stored_image current;
static bool have_image;

int camera_node_init(void)
{
	camlink_init();
	return cam_wake_init();
}

bool take_image(void)
{
	have_image = false;

	if (camlink_radio_on() != 0) {                                  /* Bluetooth on */
		return false;
	}

	bool paired = camlink_bond_count() > 0;

	LOG_INF("take_image: %s", paired ? "paired camera" : "no camera paired yet: pairing mode");

	cam_wake_pulse(CONFIG_APP_IMAGE_WAKE_PULSE_MS);                 /* wake the camera: short pulse */
	camlink_result_t r = camlink_receive_image(!paired, CONFIG_APP_SESSION_TIMEOUT_S * 1000);

	if (r == CAMLINK_BOND_LOST && IS_ENABLED(CONFIG_APP_AUTO_REPAIR)) {
		LOG_WRN("camera forgot us: waking it again and pairing from scratch");
		cam_wake_pulse(CONFIG_APP_IMAGE_WAKE_PULSE_MS);
		r = camlink_receive_image(true, CONFIG_APP_SESSION_TIMEOUT_S * 1000);
	}

	camlink_radio_off();                                            /* Bluetooth off */

	if (r == CAMLINK_OK && camlink_last_kind() != CAMLINK_KIND_IMAGE) {
		LOG_WRN("take_image: the camera sent something else (not a picture)");
		r = CAMLINK_FAILED;
	}

	if (r == CAMLINK_OK && image_store_get(&current)) {
		have_image = true;
		LOG_INF("take_image: picture ready, %u bytes (%ux%u), status: %s", current.len,
			current.width, current.height, image_status_str(current.status));
	} else {
		LOG_WRN("take_image: no picture (%s)", camlink_result_str(r));
	}
	return have_image;
}

bool read_battery(struct battery_info *out)
{
	bool ok = false;

	if (camlink_radio_on() != 0) {
		return false;
	}
	if (camlink_bond_count() == 0) {
		LOG_ERR("read_battery: no camera paired yet - call take_image() once first");
		camlink_radio_off();
		return false;
	}

	LOG_INF("read_battery: asking the camera node");
	cam_wake_pulse(CONFIG_APP_BATTERY_WAKE_PULSE_MS);                 /* long pulse = battery */
	camlink_result_t r = camlink_receive_image(false, CONFIG_APP_SESSION_TIMEOUT_S * 1000);

	camlink_radio_off();

	if (r == CAMLINK_OK && camlink_last_kind() == CAMLINK_KIND_BATTERY) {
		struct camlink_battery b = camlink_last_battery();

		if (out) {
			out->percent = b.percent;
			out->battery_mv = b.battery_mv;
			out->adc_mv = b.adc_mv;
		}
		ok = true;
	} else {
		LOG_WRN("read_battery: no battery report (%s)", camlink_result_str(r));
	}
	return ok;
}

const struct stored_image *get_image(void)
{
	return have_image ? &current : NULL;
}

void camera_node_forget_pairing(void)
{
	if (camlink_radio_on() == 0) {
		camlink_forget_all();
		camlink_radio_off();
	}
}
```

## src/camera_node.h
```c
/*
 * SPDX-License-Identifier: Apache-2.0
 *
 * Public interface to the camera node. This is everything the rest of the firmware
 * needs:
 *
 *     camera_node_init();                 // once at start-up
 *     if (take_image()) {                 // wake the camera, receive its picture, BLE off
 *         const struct stored_image *img = get_image();   // picture in RAM
 *         ... use img->data / img->len (e.g. send over LoRa) ...
 *     }
 *
 * Bluetooth is only on while take_image() runs.
 */
#pragma once

#include <stdbool.h>

#include "image_store.h"

/* Set up the wake line and the Bluetooth module. Bluetooth itself stays off.
 * Returns 0 or a negative errno. */
int camera_node_init(void);

/*
 * Wake the camera node, receive one picture over Bluetooth LE and turn Bluetooth
 * off again. Blocks for the whole time (about 2-15 s). Returns true if a complete,
 * CRC-checked picture is now available through get_image().
 *
 * Pairing: if no camera is paired yet, it pairs with the first camera that answers
 * (first use) and stores the pairing in flash; otherwise it only talks to the
 * paired camera. The previous picture is overwritten by a new attempt, so after a
 * false return get_image() has nothing.
 */
bool take_image(void);

/* The last picture received by take_image(), or NULL if there is none. The data
 * stays valid in RAM until the next take_image() call. Do not call while
 * take_image() is running. */
const struct stored_image *get_image(void);

struct battery_info {
	uint8_t percent;        /* 0..100 */
	uint16_t battery_mv;    /* battery voltage, calculated by the camera node */
	uint16_t adc_mv;        /* voltage at the camera node's ADC pin */
};

/*
 * Ask the camera node for its battery level: a long wake pulse (APP_BATTERY_WAKE_PULSE_MS)
 * tells it to measure and send the battery report instead of a picture. Bluetooth is on
 * only while this runs. Returns true and fills *out when the report arrived; it is also
 * logged ("BATTERY: 73 % ..."). Blocks for about 1-5 s.
 */
bool read_battery(struct battery_info *out);

/* Forget the paired camera (the camera node keeps its own record; reset it too). */
void camera_node_forget_pairing(void);
```

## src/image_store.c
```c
/* SPDX-License-Identifier: Apache-2.0 */

#include "image_store.h"

#include <errno.h>
#include <zephyr/kernel.h>
#include <zephyr/sys/crc.h>

static uint8_t buf[CONFIG_APP_IMAGE_BUF_SIZE] __aligned(4);

static struct {
	uint32_t expected;
	uint32_t received;
	uint32_t crc;
	uint16_t width;
	uint16_t height;
	enum image_status status;
	uint8_t human_count;
	uint8_t face_count;
	bool valid;           /* a committed picture is in buf */
	int64_t saved_at_ms;
} st;

int image_store_begin(uint32_t len, uint16_t width, uint16_t height, enum image_status status,
		      uint8_t human_count, uint8_t face_count)
{
	st.valid = false;
	st.received = 0;
	st.crc = 0;
	st.expected = 0;

	if (len == 0) {
		return -EINVAL;
	}
	if (len > sizeof(buf)) {
		return -ENOSPC;
	}
	st.expected = len;
	st.width = width;
	st.height = height;
	st.status = status;
	st.human_count = human_count;
	st.face_count = face_count;
	return 0;
}

int image_store_append(const uint8_t *data, uint32_t n)
{
	if (st.received + n > st.expected) {
		return -EOVERFLOW;
	}
	memcpy(&buf[st.received], data, n);
	st.crc = crc32_ieee_update(st.crc, data, n);
	st.received += n;
	return 0;
}

uint32_t image_store_received(void)
{
	return st.received;
}

uint32_t image_store_expected(void)
{
	return st.expected;
}

uint32_t image_store_crc(void)
{
	return st.crc;
}

void image_store_commit(void)
{
	st.valid = true;
	st.saved_at_ms = k_uptime_get();
}

void image_store_abort(void)
{
	st.valid = false;
	st.received = 0;
	st.expected = 0;
	st.crc = 0;
}

bool image_store_get(struct stored_image *out)
{
	if (!st.valid) {
		return false;
	}
	out->data = buf;
	out->len = st.received;
	out->width = st.width;
	out->height = st.height;
	out->status = st.status;
	out->human_count = st.human_count;
	out->face_count = st.face_count;
	out->saved_at_ms = st.saved_at_ms;
	return true;
}

const char *image_status_str(enum image_status status)
{
	switch (status) {
	case IMAGE_NO_HUMAN: return "no human detected";
	case IMAGE_HUMAN:    return "human detected";
	case IMAGE_FACE:     return "face detected";
	}
	return "?";
}
```

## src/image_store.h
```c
/*
 * SPDX-License-Identifier: Apache-2.0
 *
 * RAM store for the last picture received from the camera node.
 *
 * One static buffer of CONFIG_APP_IMAGE_BUF_SIZE bytes. A picture is written in
 * three steps (begin -> append... -> commit); it only becomes visible through
 * image_store_get() after commit, so a half-received or corrupt picture is never
 * handed out. Starting a new picture discards the previous one (single buffer).
 *
 * The data stays valid until the next begin(). It is lost on reset / System OFF
 * (RAM). Not thread safe: the BLE thread writes, the reader must only call
 * image_store_get() while no transfer is running (see camlink_receive_image()).
 */
#pragma once

#include <stdbool.h>
#include <stdint.h>

/* Status note sent by the camera node with every picture. */
enum image_status {
	IMAGE_NO_HUMAN,    /* nobody detected within the search window */
	IMAGE_HUMAN,       /* a person was detected, but no face */
	IMAGE_FACE,        /* a face was detected (and framed) */
};

struct stored_image {
	const uint8_t *data;   /* JPEG bytes, points into the static buffer */
	uint32_t len;          /* number of valid bytes */
	uint16_t width;        /* as announced by the camera */
	uint16_t height;
	enum image_status status;   /* note from the camera node */
	uint8_t human_count;        /* number of people it found */
	uint8_t face_count;         /* number of faces it found */
	int64_t saved_at_ms;   /* k_uptime_get() when the picture was committed */
};

/* Start a new picture of `len` bytes. Discards the stored one.
 * Returns 0, -EINVAL (len == 0) or -ENOSPC (does not fit). */
int image_store_begin(uint32_t len, uint16_t width, uint16_t height, enum image_status status,
		      uint8_t human_count, uint8_t face_count);

/* Append received bytes. Returns 0 or -EOVERFLOW (more than announced / than fits). */
int image_store_append(const uint8_t *data, uint32_t n);

/* Bytes stored so far / bytes announced for the current picture. */
uint32_t image_store_received(void);
uint32_t image_store_expected(void);

/* CRC32 (zlib/IEEE, same as the camera sends) of the bytes stored so far. */
uint32_t image_store_crc(void);

/* Mark the current picture complete and valid. */
void image_store_commit(void);

/* Throw the current (incomplete / corrupt) picture away. */
void image_store_abort(void);

/* Fetch the last committed picture. Returns false if there is none. */
bool image_store_get(struct stored_image *out);

/* Readable name of a status, for logs. */
const char *image_status_str(enum image_status status);
```
